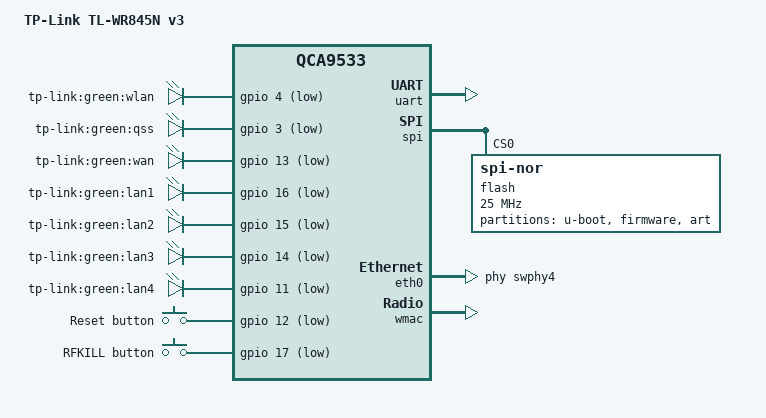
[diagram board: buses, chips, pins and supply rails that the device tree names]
// SPDX-License-Identifier: GPL-2.0-or-later OR MIT
/dts-v1/;

#include <dt-bindings/gpio/gpio.h>
#include <dt-bindings/input/input.h>

#include "qca953x.dtsi"

/ {
    compatible = "tplink,tl-wr845n-v3", "qca,qca9533";
    model = "TP-Link TL-WR845N v3";

	chosen {
		bootargs = "console=ttyS0,115200n8";
	};

    aliases {
        led-boot = &qss_led;
        led-failsafe = &qss_led;
        led-running = &qss_led;
        led-upgrade = &qss_led;
        label-mac-device = &wmac;
    };

	gpio_leds: leds {
		compatible = "gpio-leds";

		wifi {
			label = "tp-link:green:wlan";
			gpios = <&gpio 4 GPIO_ACTIVE_LOW>;
			linux,default-trigger = "phy0tpt";
		};

		qss_led: qss {
			label = "tp-link:green:qss";
			gpios = <&gpio 3 GPIO_ACTIVE_LOW>;
		};

		wan {
			label = "tp-link:green:wan";
			gpios = <&gpio 13 GPIO_ACTIVE_LOW>;
		};

		lan1 {
			label = "tp-link:green:lan1";
			gpios = <&gpio 16 GPIO_ACTIVE_LOW>;
		};

		lan2 {
			label = "tp-link:green:lan2";
			gpios = <&gpio 15 GPIO_ACTIVE_LOW>;
		};

		lan3 {
			label = "tp-link:green:lan3";
			gpios = <&gpio 14 GPIO_ACTIVE_LOW>;
		};

		lan4 {
			label = "tp-link:green:lan4";
			gpios = <&gpio 11 GPIO_ACTIVE_LOW>;
		};
	};

	keys {
		compatible = "gpio-keys";

		reset {
			label = "Reset button";
			linux,code = <KEY_RESTART>;
			gpios = <&gpio 12 GPIO_ACTIVE_LOW>;
			debounce-interval = <60>;
		};

		rfkill {
			label = "RFKILL button";
			linux,code = <KEY_RFKILL>;
			gpios = <&gpio 17 GPIO_ACTIVE_LOW>;
			debounce-interval = <60>;
		};
	};
};

&uart {
	status = "okay";
};

&spi {
	status = "okay";
	num-cs = <1>;

	flash@0 {
		compatible = "jedec,spi-nor";
		reg = <0>;
		spi-max-frequency = <25000000>;

		partitions {
			compatible = "fixed-partitions";
			#address-cells = <1>;
			#size-cells = <1>;

			uboot:	partition@0 {
				label = "u-boot";
				reg = <0x000000 0x020000>;
				read-only;
			};

			partition@20000 {
				compatible = "tplink,firmware";
				label = "firmware";
				reg = <0x020000 0x7d0000>;
			};

			art: partition@7f0000 {
				label = "art";
				reg = <0x7f0000 0x010000>;
				read-only;
			};
		};
	};
};

//lan ports
&eth1 {
	mtd-mac-address = <&uboot 0x1fc00>;
};

//wan ports
&eth0 {
	status = "okay";
	phy-handle = <&swphy4>;

	mtd-mac-address = <&uboot 0x1fc00>;
	mtd-mac-address-increment = <1>;
};

//wifi radio
&wmac {
	status = "okay";
	mtd-cal-data = <&art 0x1000>;
	mtd-mac-address = <&uboot 0x1fc00>;
};
